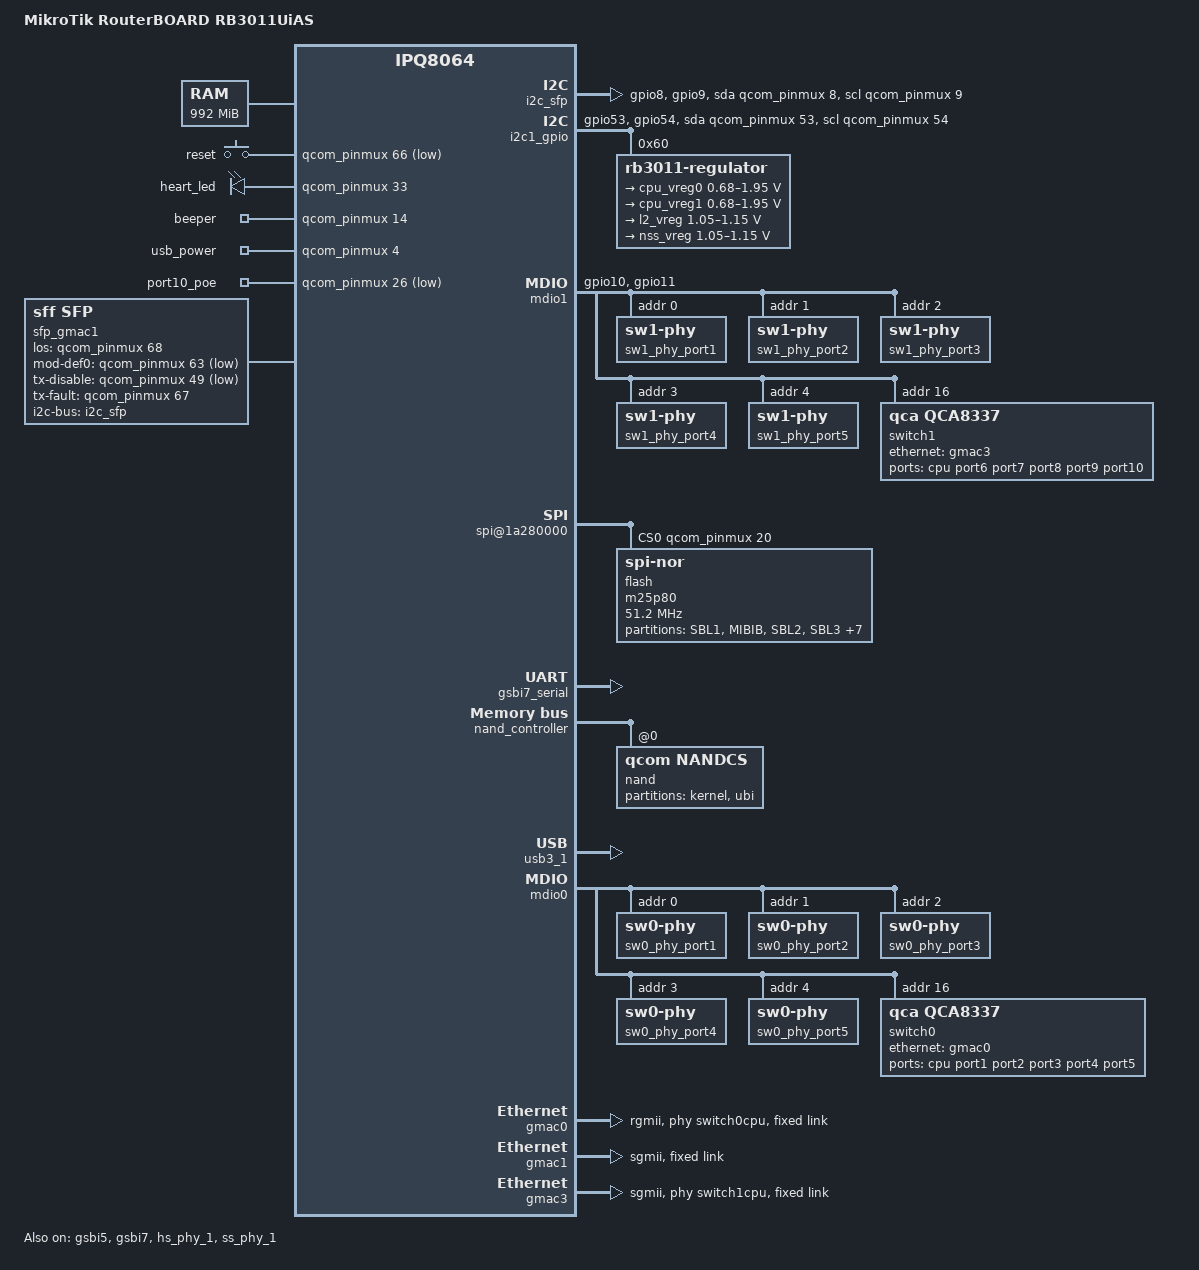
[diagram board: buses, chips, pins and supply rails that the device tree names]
#include "qcom-ipq8064-v2.0.dtsi"

#include <dt-bindings/input/input.h>

/ {
	model = "MikroTik RouterBOARD RB3011UiAS";
	compatible = "mikrotik,rb3011uias", "qcom,ipq8064";

	memory@0 {
		reg = <0x42000000 0x3e000000>;
		device_type = "memory";
	};

	reserved-memory {
		ramoops@7ffc0000 {
			compatible = "ramoops";
			reg = <0x7ffc0000 0x40000>;
			record-size = <0x4000>;
			console-size = <0x4000>;
			ftrace-size = <0x4000>;
			pmsg-size = <0x4000>;
		};
	};

	aliases {
		led-boot = &act;
		led-failsafe = &act;
		led-running = &act;
		led-upgrade = &act;
		mdio-gpio0 = &mdio0;
		mdio-gpio1 = &mdio1;
		serial0 = &gsbi7_serial;
	};

	chosen {
		bootargs = "rootfstype=squashfs noinitrd";
	};

	i2c_sfp: i2c-gpio@0 {
		#address-cells = <1>;
		#size-cells = <0>;

		compatible = "i2c-gpio";
		pinctrl-0 = <&i2c0_gpio_pins>;
		pinctrl-names = "default";
		sda-gpios = <&qcom_pinmux 8 (GPIO_ACTIVE_HIGH | GPIO_OPEN_DRAIN)>;
		scl-gpios = <&qcom_pinmux 9 (GPIO_ACTIVE_HIGH | GPIO_OPEN_DRAIN)>;
	};

	i2c1_gpio: i2c-gpio@1 {
		#address-cells = <1>;
		#size-cells = <0>;

		compatible = "i2c-gpio";
		pinctrl-0 = <&i2c1_gpio_pins>;
		pinctrl-names = "default";
		sda-gpios = <&qcom_pinmux 53 (GPIO_ACTIVE_HIGH | GPIO_OPEN_DRAIN)>;
		scl-gpios = <&qcom_pinmux 54 (GPIO_ACTIVE_HIGH | GPIO_OPEN_DRAIN)>;

		rb3011-regulator@60 {
			compatible = "rb3011-regulator";
			reg = <0x60>;
			regulators {
				cpu_vreg0: cpu0vreg {
					regulator-name = "cpu0-regulator";
					regulator-output = <0>;
					regulator-min-microvolt = <680000>;
					regulator-max-microvolt = <1950000>;
					regulator-step-microvolt = <10000>;
					regulator-always-on;
					regulator-boot-on;
				};
				cpu_vreg1: cpu1vreg {
					regulator-name = "cpu1-regulator";
					regulator-output = <1>;
					regulator-min-microvolt = <680000>;
					regulator-max-microvolt = <1950000>;
					regulator-step-microvolt = <10000>;
					regulator-always-on;
					regulator-boot-on;
				};
				/* The next two vregs are dummy.
					 In fact they don't exist! */
				l2_vreg: l2vreg {
					regulator-name = "l2-regulator";
					regulator-output = <2>;
					regulator-min-microvolt = <1050000>;
					regulator-max-microvolt = <1150000>;
					regulator-step-microvolt = <10000>;
					regulator-always-on;
					regulator-boot-on;
				};
				nss_vreg: nssvreg {
					regulator-name = "nss-regulator";
					regulator-output = <3>;
					regulator-min-microvolt = <1050000>;
					regulator-max-microvolt = <1150000>;
					regulator-step-microvolt = <10000>;
					regulator-always-on;
					regulator-boot-on;
				};
			};
		};
	};

	keys {
		compatible = "gpio-keys";
		pinctrl-0 = <&button_pins>;
		pinctrl-names = "default";

		reset {
			gpios = <&qcom_pinmux 66 GPIO_ACTIVE_LOW>;
			label = "reset";
			linux,code = <KEY_RESTART>;
			debounce-interval = <60>;
			wakeup-source;
		};
	};

	leds {
		compatible = "gpio-leds";
		pinctrl-0 = <&led_pins &beeper_pins>;
		pinctrl-names = "default";

		act: act {
			label = "heart_led";
			gpios = <&qcom_pinmux 33 GPIO_ACTIVE_HIGH>;
		};
		beeper {
			label = "beeper";
			gpios = <&qcom_pinmux 14 GPIO_ACTIVE_HIGH>;
		};
	};

	gpio-export {
		pinctrl-names = "default";
		pinctrl-0 = <&usb0_pwr_en_pins &port10_poe_pin>;
		compatible = "gpio-export";
		#size-cells = <0>;

		usb_power {
			gpio-export,name = "usb_power";
			gpio-export,output = <1>; /* default is on */
			gpios = <&qcom_pinmux 4 GPIO_ACTIVE_HIGH>;
		};
		port10_poe {
			gpio-export,name = "port10_poe";
			gpio-export,output = <1>; /* default is off */
			gpios = <&qcom_pinmux 26 GPIO_ACTIVE_LOW>;
		};
	};

	sfp_gmac1: sfp {
		compatible = "sff,sfp";
		i2c-bus = <&i2c_sfp>;
		los-gpios = <&qcom_pinmux 68 GPIO_ACTIVE_HIGH>;
		maximum-power-milliwatt = <2000>;
		mod-def0-gpios = <&qcom_pinmux 63 GPIO_ACTIVE_LOW>;
		pinctrl-0 = <&sfp_pins>;
		pinctrl-names = "default";
//		rate-select0-gpios = <&qcom_pinmux 50 GPIO_ACTIVE_HIGH>;
//		rate-select0-gpios = <&qcom_pinmux 50 GPIO_ACTIVE_LOW>;
//		tx-disable-gpios = <&qcom_pinmux 49 GPIO_ACTIVE_HIGH>;
		tx-disable-gpios = <&qcom_pinmux 49 GPIO_ACTIVE_LOW>;
		tx-fault-gpios = <&qcom_pinmux 67 GPIO_ACTIVE_HIGH>;
	};
};

&adm_dma {
	status = "okay";
};

&soc {
	mdio1: mdio@37200000 {
		#address-cells = <1>;
		#size-cells = <0>;

		compatible = "qcom,ipq8064-mdio", "syscon";
		reg = <0x37200000 0x200000>;
		resets = <&gcc GMAC_CORE2_RESET>;
		reset-names = "stmmaceth";
		clocks = <&gcc GMAC_CORE2_CLK>;
		clock-names = "stmmaceth";

		status = "disabled";
	};
};

&qcom_pinmux {
	i2c0_gpio_pins: i2c0_gpio_pins {
		i2c {
			pins = "gpio8", "gpio9";
			function = "gpio";
			drive-strength = <8>;
			bias-pull-up;
		};
	};
	i2c1_gpio_pins: i2c1_gpio_pins {
		i2c {
			pins = "gpio53", "gpio54";
			function = "gpio";
			drive-strength = <8>;
			bias-pull-up;
		};
	};

	led_pins: led-pins {
		mux {
			pins = "gpio33";
			function = "gpio";
			drive-strength = <16>;
			bias-disable;
		};
	};

	mdio1_pins: mdio1-pins {
		mux {
			pins = "gpio10", "gpio11";
			function = "mdio";
			drive-strength = <8>;
			bias-disable;
		};
	};

	button_pins: button-pins {
		mux {
			pins = "gpio66";
			function = "gpio";
			drive-strength = <16>;
			bias-disable;
		};
	};

	sfp_pins: sfp-pins {
		mux {
			pins = "gpio49", "gpio50", "gpio63", "gpio67", "gpio68";
			function = "gpio";
			drive-strength = <16>;
			bias-disable;
		};
	};

	sw0_reset_pin: switch0-reset-pin {
		mux {
			pins = "gpio16";
			function = "gpio";
			drive-strength = <16>;
			bias-disable;
			output-high;
		};
	};

	sw1_reset_pin: switch1-reset-pin {
		mux {
			pins = "gpio17";
			function = "gpio";
			drive-strength = <16>;
			bias-disable;
			output-high;
		};
	};

	usb0_pwr_en_pins: usb0-pwr-en-pins {
		mux {
			pins = "gpio4";
			function = "gpio";
			drive-strength = <16>;
			bias-disable;
		};
	};

	port10_poe_pin: port10-poe-pin {
		mux {
			pins = "gpio26";
			function = "gpio";
			drive-strength = <8>;
			bias-disable;
		};
	};

	beeper_pins: beeper_pins {
		mux {
			pins = "gpio14";
			function = "gpio";
			drive-strength = <2>;
			bias-disable;
		};
	};

};

&gsbi5 {
	qcom,mode = <GSBI_PROT_SPI>;
	status = "okay";

	spi@1a280000 {
		status = "okay";

		pinctrl-0 = <&spi_pins>;
		pinctrl-names = "default";

		cs-gpios = <&qcom_pinmux 20 GPIO_ACTIVE_HIGH>;

		flash: m25p80@0 {
			compatible = "jedec,spi-nor";
			#address-cells = <1>;
			#size-cells = <1>;
			spi-max-frequency = <51200000>;
			reg = <0>;

			partitions {
				compatible = "fixed-partitions";
				#address-cells = <1>;
				#size-cells = <1>;

				SBL1@0 {
					label = "SBL1";
					reg = <0x00000000 0x20000>;
					read-only;
				};
				MIBIB@20000 {
					label = "MIBIB";
					reg = <0x00020000 0x20000>;
					read-only;
				};
				SBL2@40000 {
					label = "SBL2";
					reg = <0x00040000 0x40000>;
					read-only;
				};
				SBL3@80000 {
					label = "SBL3";
					reg = <0x00080000 0x80000>;
					read-only;
				};
				DDRCONFIG@100000 {
					label = "DDRCONFIG";
					reg = <0x00100000 0x10000>;
					read-only;
				};
				SSD@110000 {
					label = "SSD";
					reg = <0x00110000 0x10000>;
					read-only;
				};
				TZ@120000 {
					label = "TZ";
					reg = <0x00120000 0x80000>;
					read-only;
				};
				RPM@1a0000 {
					label = "RPM";
					reg = <0x001a0000 0x20000>;
					read-only;
				};
				APPSBL@1c0000 {
					label = "APPSBL";
					reg = <0x001c0000 0x40000>;
					read-only;
				};
				partition@0 {
					compatible = "mikrotik,routerboot-partitions";
					#address-cells = <1>;
					#size-cells = <1>;
					label = "RouterBoot";
					reg = <0x1c0000 0x40000>;
					read-only;

					partition@0 {
						label = "bootloader";
						reg = <0x0 0x0>;
						read-only;
					};

					hard_config: hard_config {
						read-only;
					};

					soft_config {
					};
				};
			};
		};
	};
};

&smb208_regulators {
	status = "disabled";
};

&cpu0 {
	cpu-supply = <&cpu_vreg0>;
};

&cpu1 {
	cpu-supply = <&cpu_vreg1>;
};

&L2 {
	l2-supply = <&l2_vreg>;
};

&qcom_nss_common {
	nss_core-supply = <&nss_vreg>;
};

&qcom_smem {
	/* RouterBOOT does not initialize QCom SMEM memory.
		 So just disable its driver. */
	status = "disabled";
};

&gsbi4 {
	status = "disabled";
};

&gsbi4_serial {
	status = "disabled";
};

&gsbi7 {
	qcom,mode = <GSBI_PROT_I2C_UART>;
	status = "okay";
};

&gsbi7_serial {
	status = "okay";
};

&nand_controller {
	status = "okay";

	pinctrl-0 = <&nand_pins>;
	pinctrl-names = "default";

	nand@0 {
		reg = <0>;
		compatible = "qcom,nandcs";

		nand-ecc-strength = <4>;
		nand-bus-width = <8>;
		nand-ecc-step-size = <512>;

		partitions {
			compatible = "fixed-partitions";
			#address-cells = <1>;
			#size-cells = <1>;

			partition@0 {
				label = "kernel";
				reg = <0x00000000 0x1000000>;
			};

			partition@1000000 {
				label = "ubi";
				reg = <0x1000000 0x7000000>;
			};
		};
	};
};

&hs_phy_1 { /* USB3 port 0 HS phy */
	status = "okay";
};

&ss_phy_1 { /* USB3 port 0 SS phy */
	status = "okay";
};

&usb3_1 {
	no-clk_bulk_get;
	no-dwc3_qcom_setup_irq;
	status = "okay";
};

&mdio0 {
	status = "okay";

	pinctrl-0 = <&mdio0_pins>;
	pinctrl-names = "default";

	sw0_phy_port1: sw0-phy@0 {
		reg = <0>;
	};
	sw0_phy_port2: sw0-phy@1 {
		reg = <1>;
	};
	sw0_phy_port3: sw0-phy@2 {
		reg = <2>;
	};
	sw0_phy_port4: sw0-phy@3 {
		reg = <3>;
	};
	sw0_phy_port5: sw0-phy@4 {
		reg = <4>;
	};

	switch0: switch@10 {
		compatible = "qca,qca8337";
		#address-cells = <1>;
		#size-cells = <0>;

		pinctrl-0 = <&sw0_reset_pin>;
		pinctrl-names = "default";

		reg = <0x10>;
		/* The switch chip and its phys reset is done by aux-loader
			 so DSA driver does not need to do reset again.
			 reset-gpios = <&qcom_pinmux 16 GPIO_ACTIVE_LOW>; */
		dsa,member = <0 0>;
		qca,strict-cpu-mode;
		qca,swregs-initvals = <
			0x00004 0x07680000  /* PAD0_MODE */
			0x00008 0x01000000  /* PAD5_MODE */
			0x0000c 0x00000000  /* PAD6_MODE. Must be 0x00000080 if used Port6(without DSA)! */
			/* 0x00010 0x002613A0  POWER_ON_STRIP - Disable SERDES_AEN. Must be set if used Port6! */
			0x000e0 0xc741e7de  /* SGMII_CTRL */
			0x000e4 0x0002a545  /* MAC_POWER_SEL */
			0x00078 0x00001fdc  /* MAX_FRAME_SIZE */
			0x0007c 0x4e        /* PORT0_STATUS */
			0x00094 0x4e        /* PORT6_STATUS */
		>;
		ports {
			#address-cells = <1>;
			#size-cells = <0>;

			switch0cpu: port@0 {
				reg = <0>;
				label = "cpu";
				ethernet = <&gmac0>;
				phy-mode = "rgmii-id";
				fixed-link {
					speed = <1000>;
					full-duplex;
				};
			};

			port@1 {
				reg = <1>;
				label = "port1";
				phy-handle = <&sw0_phy_port1>;
				nvmem-cells = <&macaddr_hard>;
				nvmem-cell-names = "mac-address";
				mac-address-increment = <0>;
			};

			port@2 {
				reg = <2>;
				label = "port2";
				phy-handle = <&sw0_phy_port2>;
				nvmem-cells = <&macaddr_hard>;
				nvmem-cell-names = "mac-address";
				mac-address-increment = <1>;
			};

			port@3 {
				reg = <3>;
				label = "port3";
				phy-handle = <&sw0_phy_port3>;
				nvmem-cells = <&macaddr_hard>;
				nvmem-cell-names = "mac-address";
				mac-address-increment = <2>;
			};

			port@4 {
				reg = <4>;
				label = "port4";
				phy-handle = <&sw0_phy_port4>;
				nvmem-cells = <&macaddr_hard>;
				nvmem-cell-names = "mac-address";
				mac-address-increment = <3>;
			};

			port@5 {
				reg = <5>;
				label = "port5";
				phy-handle = <&sw0_phy_port5>;
				nvmem-cells = <&macaddr_hard>;
				nvmem-cell-names = "mac-address";
				mac-address-increment = <4>;
			};
		};
	};
};

&mdio1 {
	status = "okay";

	pinctrl-0 = <&mdio1_pins>;
	pinctrl-names = "default";

	sw1_phy_port1: sw1-phy@0 {
		reg = <0>;
	};
	sw1_phy_port2: sw1-phy@1 {
		reg = <1>;
	};
	sw1_phy_port3: sw1-phy@2 {
		reg = <2>;
	};
	sw1_phy_port4: sw1-phy@3 {
		reg = <3>;
	};
	sw1_phy_port5: sw1-phy@4 {
		reg = <4>;
	};

	switch1: switch@14 {
		compatible = "qca,qca8337";
		#address-cells = <1>;
		#size-cells = <0>;

		pinctrl-0 = <&sw1_reset_pin>;
		pinctrl-names = "default";

		reg = <0x10>;
		/* The switch chip and its phys reset is done by aux-loader
			 so DSA driver does not need to do reset again.
			 reset-gpios = <&qcom_pinmux 17 GPIO_ACTIVE_LOW>; */
		dsa,member = <1 0>;
		qca,strict-cpu-mode;
		qca,swregs-initvals = <
			0x00004 0x00080080  /* PAD0_MODE */
			0x00008 0000000000  /* PAD5_MODE */
			0x0000c 0x00000000  /* PAD6_MODE */
			0x00010 0x002613A0  /* POWER_ON_STRIP. Disable SERDES_AEN */
			0x000e0 0xc741e7de  /* SGMII_CTRL */
			0x000e4 0x0006a545  /* MAC_POWER_SEL */
			0x00078 0x00001fdc  /* MAX_FRAME_SIZE */
			0x0007c 0x4e        /* PORT0_STATUS */
			0x00094 0x4e        /* PORT6_STATUS */
		>;
		ports {
			#address-cells = <1>;
			#size-cells = <0>;

			switch1cpu: port@0 {
				reg = <0>;
				label = "cpu";
				ethernet = <&gmac3>;
				phy-mode = "sgmii";
				fixed-link {
					speed = <1000>;
					full-duplex;
				};
			};

			port@1 {
				reg = <1>;
				label = "port6";
				phy-handle = <&sw1_phy_port1>;
				nvmem-cells = <&macaddr_hard>;
				nvmem-cell-names = "mac-address";
				mac-address-increment = <6>;
			};

			port@2 {
				reg = <2>;
				label = "port7";
				phy-handle = <&sw1_phy_port2>;
				nvmem-cells = <&macaddr_hard>;
				nvmem-cell-names = "mac-address";
				mac-address-increment = <7>;
			};

			port@3 {
				reg = <3>;
				label = "port8";
				phy-handle = <&sw1_phy_port3>;
				nvmem-cells = <&macaddr_hard>;
				nvmem-cell-names = "mac-address";
				mac-address-increment = <8>;
			};

			port@4 {
				reg = <4>;
				label = "port9";
				phy-handle = <&sw1_phy_port4>;
				nvmem-cells = <&macaddr_hard>;
				nvmem-cell-names = "mac-address";
				mac-address-increment = <9>;
			};

			port@5 {
				reg = <5>;
				label = "port10";
				phy-handle = <&sw1_phy_port5>;
				nvmem-cells = <&macaddr_hard>;
				nvmem-cell-names = "mac-address";
				mac-address-increment = <10>;
			};
		};
	};
};

&gmac0 { /* switch0 port 0 */
	nvmem-cells = <&macaddr_hard>;
	nvmem-cell-names = "mac-address";
	mac-address-increment = <0>;
	phy-mode = "rgmii";
	phy-handle = <&switch0cpu>;
	pinctrl-0 = <&rgmii2_pins>;
	pinctrl-names = "default";
	qcom,id = <0>;
	max-frame-size = <2056>;
	add-net-ip-align; /* this iface is for DSA */
	status = "okay";

	fixed-link {
		speed = <1000>;
		full-duplex;
	};
};

&gmac1 { /* SFP */
	nvmem-cells = <&macaddr_hard>;
	nvmem-cell-names = "mac-address";
	mac-address-increment = <5>;
	phy-mode = "sgmii";
	qcom,id = <1>;
	//sfp = <&sfp_gmac1>;
	max-frame-size = <2056>;
	status = "okay";

	fixed-link {
		speed = <1000>;
		full-duplex;
	};
};

&gmac2 { /* switch0 port 6 */
	nvmem-cells = <&macaddr_hard>;
	nvmem-cell-names = "mac-address";
	mac-address-increment = <11>;
	phy-mode = "sgmii";
	qcom,id = <2>;
	status = "disabled";

	fixed-link {
		speed = <1000>;
		full-duplex;
	};
};

&gmac3 { /* switch1 port 0 */
	nvmem-cells = <&macaddr_hard>;
	nvmem-cell-names = "mac-address";
	mac-address-increment = <6>;
	phy-mode = "sgmii";
	phy-handle = <&switch1cpu>;
	qcom,id = <3>;
	max-frame-size = <2056>;
	add-net-ip-align; /* this iface is for DSA */
	status = "okay";

	fixed-link {
		speed = <1000>;
		full-duplex;
	};
};

&hard_config {
	compatible = "nvmem-cells";
	#address-cells = <1>;
	#size-cells = <1>;

	macaddr_hard: macaddr@10 {
		reg = <0x10 0x6>;
	};
};
